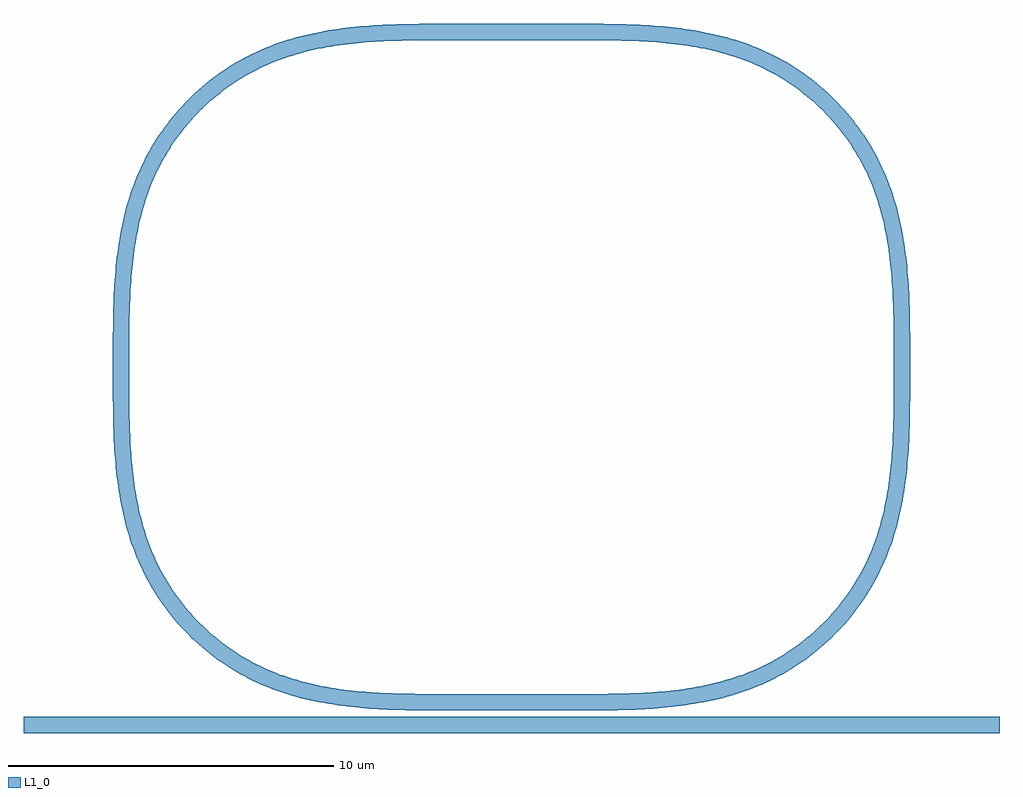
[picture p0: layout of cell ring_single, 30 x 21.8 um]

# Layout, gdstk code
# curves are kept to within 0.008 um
from math import pi, radians
import gdstk
lib = gdstk.Library(unit=1e-6, precision=1e-09)
def R(c, l, rs):  # rectangles x0, y0, x1, y1
    for r in rs: c.add(gdstk.rectangle(r[:2], r[2:], *l))
def P(c, l, *ps):  # polygons
    for p in ps: c.add(gdstk.Polygon(p, *l))
L1_0 = (1, 0)

bend_euler_40ab4dd3 = lib.new_cell('bend_euler_40ab4dd3')
P(bend_euler_40ab4dd3, L1_0, [(0,-0.25),(1.532,-0.235),(2.233,-0.203),(2.795,-0.158),(3.356,-0.091),(3.776,-0.023),(4.332,0.093),(4.746,0.203),(5.289,0.382),(5.688,0.543),(6.078,0.727),(6.455,0.934),(6.939,1.244),(7.285,1.5),(7.615,1.776),(7.928,2.072),(8.224,2.385),(8.5,2.715),(8.756,3.061),(9.066,3.545),(9.273,3.922),(9.457,4.312),(9.618,4.711),(9.797,5.254),(9.907,5.668),(10.023,6.224),(10.091,6.644),(10.158,7.205),(10.203,7.767),(10.235,8.468),(10.25,10),(9.75,10),(9.731,8.345),(9.695,7.662),(9.647,7.119),(9.576,6.58),(9.48,6.048),(9.353,5.523),(9.194,5.01),(9.051,4.635),(8.887,4.269),(8.701,3.913),(8.495,3.569),(8.269,3.238),(8.024,2.921),(7.575,2.425),(7.079,1.976),(6.762,1.731),(6.431,1.505),(6.087,1.299),(5.731,1.113),(5.365,0.949),(4.99,0.806),(4.477,0.647),(3.952,0.52),(3.42,0.424),(2.881,0.353),(2.338,0.305),(1.655,0.269),(0,0.25)])

straight_40ab4dd3 = lib.new_cell('straight_40ab4dd3')
R(straight_40ab4dd3, L1_0, [(0,-0.25,10,0.25)])

coupler90_4157220e = lib.new_cell('coupler90_4157220e')
coupler90_4157220e.add(gdstk.Reference(bend_euler_40ab4dd3, (0,0.7)))
coupler90_4157220e.add(gdstk.Reference(straight_40ab4dd3, (0,0)))

straight_413bb33e = lib.new_cell('straight_413bb33e')
R(straight_413bb33e, L1_0, [(0,-0.25,4,0.25)])

coupler_straight_119b22b = lib.new_cell('coupler_straight_119b22b4')
coupler_straight_119b22b.add(gdstk.Reference(straight_413bb33e, (0,0.7)))
coupler_straight_119b22b.add(gdstk.Reference(straight_413bb33e, (0,0)))

straight_3d57282d = lib.new_cell('straight_3d57282d')
R(straight_3d57282d, L1_0, [(0,-0.25,3,0.25)])

coupler_ring_a4442602 = lib.new_cell('coupler_ring_a4442602')
coupler_ring_a4442602.add(gdstk.Reference(coupler90_4157220e, (-4,0), rotation=pi, x_reflection=True))
coupler_ring_a4442602.add(gdstk.Reference(coupler90_4157220e, (0,0)))
coupler_ring_a4442602.add(gdstk.Reference(coupler_straight_119b22b, (-4,0)))
coupler_ring_a4442602.add(gdstk.Reference(straight_3d57282d, (-17,0)))
coupler_ring_a4442602.add(gdstk.Reference(straight_3d57282d, (10,0)))

straight_8c898e73 = lib.new_cell('straight_8c898e73')
R(straight_8c898e73, L1_0, [(0,-0.25,0.6,0.25)])

straight_e7128629 = lib.new_cell('straight_e7128629')
R(straight_e7128629, L1_0, [(0,-0.25,4,0.25)])

ring_single = lib.new_cell('ring_single')
ring_single.add(gdstk.Reference(coupler_ring_a4442602, (0,0)))
ring_single.add(gdstk.Reference(straight_8c898e73, (-14,10.7), rotation=pi/2))
ring_single.add(gdstk.Reference(straight_8c898e73, (10,11.3), rotation=3*pi/2))
ring_single.add(gdstk.Reference(straight_e7128629, (0,21.3), rotation=pi))
ring_single.add(gdstk.Reference(bend_euler_40ab4dd3, (-4,21.3), rotation=pi))
ring_single.add(gdstk.Reference(bend_euler_40ab4dd3, (10,11.3), rotation=pi/2))

lib.write_gds('ring_single.gds')
